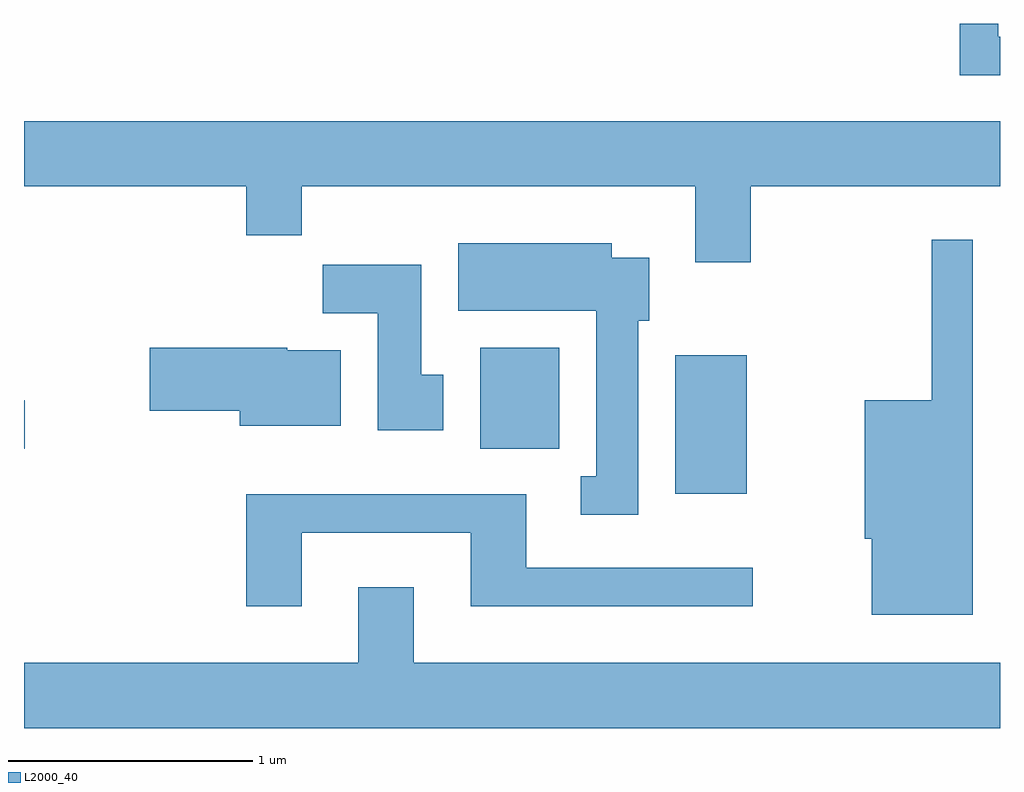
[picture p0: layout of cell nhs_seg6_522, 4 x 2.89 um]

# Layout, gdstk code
import gdstk
lib = gdstk.Library(unit=1e-6, precision=1e-09)
def R(c, l, rs):  # rectangles x0, y0, x1, y1
    for r in rs: c.add(gdstk.rectangle(r[:2], r[2:], *l))
def P(c, l, *ps):  # polygons
    for p in ps: c.add(gdstk.Polygon(p, *l))
L2000_40 = (2000, 40)

nhs_seg6_522 = lib.new_cell('nhs_seg6_522')
R(nhs_seg6_522, L2000_40, [(202.281,1644.236,202.574,1644.804), (199.611,1644.421,199.614,1644.619), (201.481,1644.421,201.804,1644.834)])
P(nhs_seg6_522, L2000_40, [(203.611,1646.109),(203.604,1646.109),(203.604,1646.162),(203.446,1646.162),(203.446,1645.951),(203.611,1645.951)],
  [(202.589,1645.496),(203.611,1645.496),(203.611,1645.764),(199.611,1645.764),(199.611,1645.496),(200.521,1645.496),(200.521,1645.296),(200.749,1645.296),(200.749,1645.496),(202.361,1645.496),(202.361,1645.186),(202.589,1645.186)],
  [(203.499,1645.278),(203.331,1645.278),(203.331,1644.619),(203.056,1644.619),(203.056,1644.051),(203.086,1644.051),(203.086,1643.741),(203.499,1643.741)],
  [(202.129,1644.946),(202.174,1644.946),(202.174,1645.204),(202.019,1645.204),(202.019,1645.264),(201.391,1645.264),(201.391,1644.986),(201.956,1644.986),(201.956,1644.309),(201.893,1644.309),(201.893,1644.151),(202.129,1644.151)],
  [(201.329,1644.724),(201.239,1644.724),(201.239,1645.174),(200.836,1645.174),(200.836,1644.976),(201.061,1644.976),(201.061,1644.496),(201.329,1644.496)],
  [(200.909,1644.824),(200.69,1644.824),(200.69,1644.834),(200.126,1644.834),(200.126,1644.576),(200.496,1644.576),(200.496,1644.516),(200.909,1644.516)],
  [(200.749,1644.076),(201.441,1644.076),(201.441,1643.776),(202.598,1643.776),(202.598,1643.934),(201.669,1643.934),(201.669,1644.234),(200.521,1644.234),(200.521,1643.776),(200.749,1643.776)],
  [(203.611,1643.544),(201.209,1643.544),(201.209,1643.854),(200.981,1643.854),(200.981,1643.544),(199.611,1643.544),(199.611,1643.276),(203.611,1643.276)])

lib.write_gds('nhs_seg6_522.gds')
